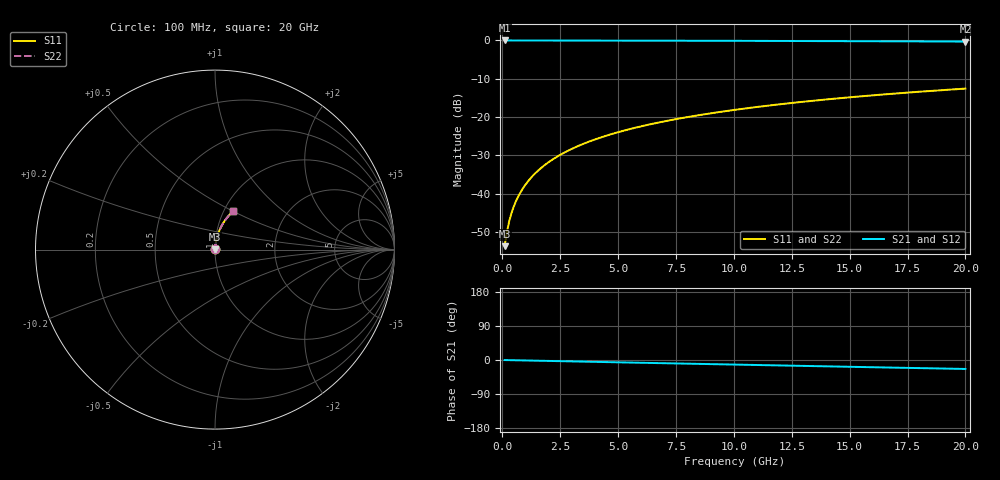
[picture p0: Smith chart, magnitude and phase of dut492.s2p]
! Touchstone file exported from HFSS 2026.1.0
!  File:  C:/ffzhzh/LocalFiles/Ansys_Project_Files/temp_train_BSMRDL_492_1783014048_51716.aedt
!  Generated:  01:42:11 AM Jul  3, 2026
!  Design:  BSMRDL
!  Project:  temp_train_BSMRDL_492_1783014048_51716
! Variables:
!  h_bsmrdl = 3.91um
!  h_ox = 20um
!  h_rdl = 5um
!  h_sub = 80um
!  h_tmrdl = 5um
!  h_tsv = 80um
!  h_via = 3um
!  l_bsmrdl = 311.75um
!  l_sub = 711.75um
!  l_tmrdl = 200um
!  m_sub = 200um
!  pitch = 47.19um
!  r_tsv = 6um
!  s_tmrdl = 10um
!  w_bsmrdl = 20.93um
!  w_sub = 500um
!  w_tmrdl = 12um
!  x_tsv_center1 = 206um
!  x_tsv_center2 = 538.68um
!  x_tsv_center3 = 750.68um
!  x_tsv_center4 = 1083.36um
!  x_tsv_center5 = 1295.36um
!  x_tsv_center6 = 1628.04um
# GHz S MA R 50.000000
! Terminal data exported
! Port[1] = BSM_RDL1_1_T1
! Port[2] = BSM_RDL1_1_T2
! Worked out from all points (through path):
!   200 points, 100 MHz to 20 GHz, reference 50 ohm
!   highest |S21| = -0.01 dB at 100 MHz (marker M1); lowest = -0.3 dB at 20 GHz (marker M2)
!   group delay of S21, straight-line fit = 3.28 ps
!   lowest |S11| = -53.6 dB at 100 MHz (marker M3), VSWR 1.00, Z = 50.2 + j0.14 ohm
!   |S11| at or under -10 dB: start of sweep to end of sweep
!   |S22| runs from -53.6 to -12.6 dB; largest |S21 - S12| = 5e-15
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0.1  0.002078 42.1  0.9985 -0.1  0.9985 -0.1  0.002078 42.1
! Gamma 0 0 0 0
! Port Impedance 50 0 50 0
0.2  0.003191 59.5  0.9984 -0.3  0.9984 -0.3  0.003191 59.5
0.3  0.004408 67.1  0.9983 -0.4  0.9983 -0.4  0.004408 67.1
0.4  0.005642 71.4  0.9982 -0.5  0.9982 -0.5  0.005641 71.4
0.5  0.006881 74.2  0.9982 -0.6  0.9982 -0.6  0.006881 74.2
0.6  0.008126 76.2  0.9981 -0.8  0.9981 -0.8  0.008126 76.2
0.8  0.01063 78.7  0.9981 -1.0  0.9981 -1.0  0.01063 78.7
1.1  0.01442 80.8  0.998 -1.4  0.998 -1.4  0.01442 80.8
1.5  0.01949 82.1  0.9978 -1.9  0.9978 -1.9  0.01949 82.1
1.8  0.02331 82.6  0.9976 -2.2  0.9976 -2.2  0.02331 82.6
2.1  0.02712 82.8  0.9975 -2.6  0.9975 -2.6  0.02712 82.8
2.7  0.03474 82.8  0.9971 -3.3  0.9971 -3.3  0.03474 82.8
3.5  0.04484 82.4  0.9964 -4.3  0.9964 -4.3  0.04484 82.4
4.2  0.05361 81.8  0.9957 -5.2  0.9957 -5.2  0.05361 81.8
5  0.06356 81.1  0.9949 -6.1  0.9949 -6.1  0.06356 81.1
5.9  0.07465 80.2  0.9938 -7.2  0.9938 -7.2  0.07465 80.2
6.8  0.08564 79.2  0.9926 -8.3  0.9926 -8.3  0.08564 79.2
8.3  0.1037 77.6  0.9904 -10.1  0.9904 -10.1  0.1037 77.6
10.1  0.1251 75.6  0.9874 -12.2  0.9874 -12.2  0.1251 75.6
13.4  0.1632 72.0  0.981 -16.1  0.981 -16.1  0.1632 72.0
16.7  0.2 68.3  0.9736 -19.9  0.9736 -19.9  0.2 68.4
20  0.2353 64.7  0.9653 -23.6  0.9653 -23.6  0.2353 64.8
